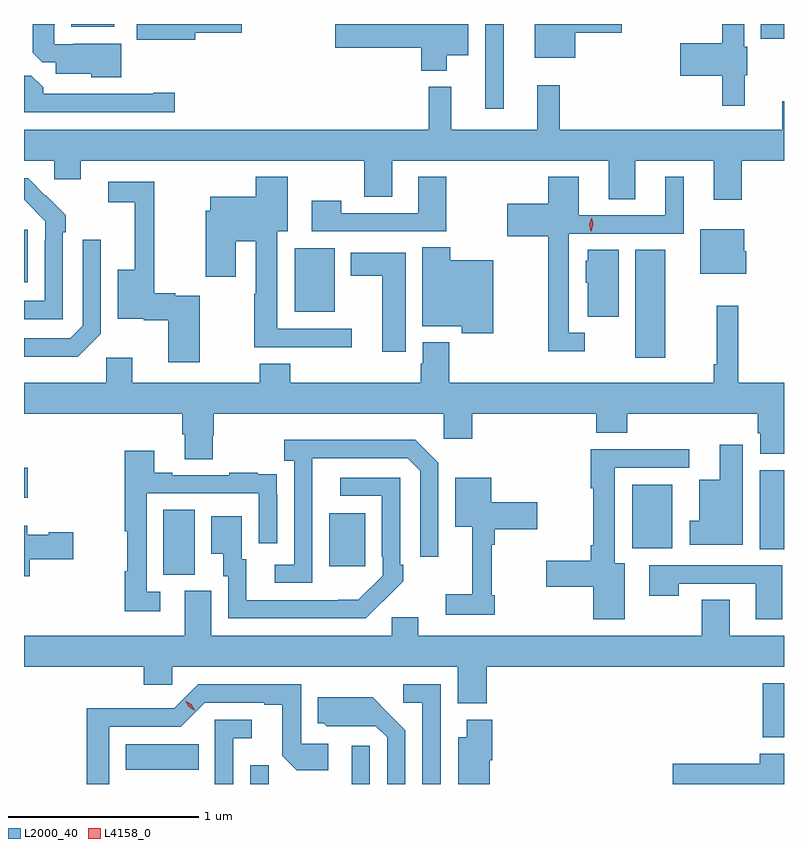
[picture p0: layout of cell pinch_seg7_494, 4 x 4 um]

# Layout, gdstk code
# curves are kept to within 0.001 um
import gdstk
lib = gdstk.Library(unit=1e-6, precision=1e-09)
def R(c, l, rs):  # rectangles x0, y0, x1, y1
    for r in rs: c.add(gdstk.rectangle(r[:2], r[2:], *l))
def P(c, l, *ps):  # polygons
    for p in ps: c.add(gdstk.Polygon(p, *l))
L2000_40 = (2000, 40)
L4158_0 = (4158, 0)

pinch_seg7_494 = lib.new_cell('pinch_seg7_494')
R(pinch_seg7_494, L2000_40, [(132.921,1077.256,133.019,1077.356), (133.455,1077.256,133.551,1077.457), (132.266,1077.332,132.65,1077.466), (135.617,1077.501,135.73,1077.787), (132.464,1078.357,132.628,1078.7), (133.337,1078.401,133.525,1078.681), (135.602,1078.492,135.73,1078.908), (134.93,1078.496,135.142,1078.831), (131.73,1078.763,131.749,1078.921), (134.948,1079.499,135.106,1080.068), (133.154,1079.741,133.366,1080.076), (131.73,1079.897,131.749,1080.172), (134.157,1080.81,134.254,1081.256), (135.607,1081.178,135.73,1081.256), (131.978,1081.241,132.205,1081.256)])
P(pinch_seg7_494, L2000_40, [(134.632,1081.211),(134.875,1081.211),(134.875,1081.256),(134.417,1081.256),(134.417,1081.079),(134.632,1081.079)],
  [(133.954,1081.091),(134.068,1081.091),(134.068,1081.256),(133.368,1081.256),(133.368,1081.132),(133.82,1081.132),(133.82,1081.01),(133.954,1081.01)],
  [(135.524,1080.987),(135.537,1080.987),(135.537,1081.137),(135.522,1081.137),(135.522,1081.256),(135.406,1081.256),(135.406,1081.154),(135.183,1081.154),(135.183,1080.983),(135.406,1080.983),(135.406,1080.825),(135.524,1080.825)],
  [(132.241,1081.153),(131.989,1081.153),(131.989,1081.149),(131.889,1081.149),(131.889,1081.249),(131.893,1081.249),(131.893,1081.256),(131.777,1081.256),(131.777,1081.105),(131.826,1081.056),(131.897,1081.056),(131.897,1080.995),(132.084,1080.995),(132.084,1080.977),(132.241,1080.977)],
  [(132.631,1081.211),(132.877,1081.211),(132.877,1081.256),(132.324,1081.256),(132.324,1081.172),(132.631,1081.172)],
  [(132.523,1080.893),(132.41,1080.893),(132.41,1080.888),(131.831,1080.888),(131.831,1080.922),(131.769,1080.984),(131.73,1080.984),(131.73,1080.792),(132.523,1080.792)],
  [(135.507,1080.536),(135.73,1080.536),(135.73,1080.85),(135.722,1080.85),(135.722,1080.7),(134.549,1080.7),(134.549,1080.934),(134.432,1080.934),(134.432,1080.7),(133.979,1080.7),(133.979,1080.925),(133.861,1080.925),(133.861,1080.7),(131.73,1080.7),(131.73,1080.536),(131.889,1080.536),(131.889,1080.438),(132.028,1080.438),(132.028,1080.536),(133.522,1080.536),(133.522,1080.346),(133.669,1080.346),(133.669,1080.536),(134.807,1080.536),(134.807,1080.334),(134.947,1080.334),(134.947,1080.536),(135.359,1080.536),(135.359,1080.33),(135.507,1080.33)],
  [(133.953,1080.451),(133.805,1080.451),(133.805,1080.261),(133.401,1080.261),(133.401,1080.325),(133.245,1080.325),(133.245,1080.165),(133.953,1080.165)],
  [(134.68,1079.631),(134.598,1079.631),(134.598,1080.153),(135.202,1080.153),(135.202,1080.451),(135.104,1080.451),(135.104,1080.249),(134.65,1080.249),(134.65,1080.451),(134.489,1080.451),(134.489,1080.31),(134.274,1080.31),(134.274,1080.14),(134.49,1080.14),(134.49,1079.534),(134.68,1079.534)],
  [(133.456,1079.652),(133.063,1079.652),(133.063,1080.164),(133.117,1080.164),(133.117,1080.451),(132.95,1080.451),(132.95,1080.346),(132.71,1080.346),(132.71,1080.273),(132.686,1080.273),(132.686,1079.925),(132.844,1079.925),(132.844,1080.113),(132.95,1080.113),(132.95,1079.837),(132.943,1079.837),(132.943,1079.555),(133.456,1079.555)],
  [(131.934,1080.161),(131.949,1080.161),(131.949,1080.249),(131.752,1080.444),(131.73,1080.444),(131.73,1080.331),(131.841,1080.219),(131.841,1080.119),(131.838,1080.119),(131.838,1079.799),(131.73,1079.799),(131.73,1079.703),(131.934,1079.703)],
  [(132.654,1079.827),(132.525,1079.827),(132.525,1079.84),(132.416,1079.84),(132.416,1080.426),(132.174,1080.426),(132.174,1080.318),(132.314,1080.318),(132.314,1079.962),(132.224,1079.962),(132.224,1079.705),(132.36,1079.705),(132.36,1079.698),(132.488,1079.698),(132.488,1079.475),(132.654,1079.475)],
  [(135.532,1080.06),(135.52,1080.06),(135.52,1080.175),(135.29,1080.175),(135.29,1079.942),(135.532,1079.942)],
  [(132.135,1079.625),(132.135,1080.121),(132.039,1080.121),(132.039,1079.667),(131.973,1079.601),(131.73,1079.601),(131.73,1079.504),(132.014,1079.504)],
  [(134.2,1080.013),(133.973,1080.013),(133.973,1080.08),(133.826,1080.08),(133.826,1079.666),(134.035,1079.666),(134.035,1079.628),(134.2,1079.628)],
  [(134.86,1080.068),(134.696,1080.068),(134.696,1080.009),(134.687,1080.009),(134.687,1079.895),(134.696,1079.895),(134.696,1079.715),(134.86,1079.715)],
  [(133.738,1080.052),(133.451,1080.052),(133.451,1079.93),(133.616,1079.93),(133.616,1079.532),(133.738,1079.532)],
  [(132.723,1079.091),(132.728,1079.091),(132.728,1079.204),(133.938,1079.204),(133.938,1079.073),(134.09,1079.073),(134.09,1079.204),(134.741,1079.204),(134.741,1079.105),(134.906,1079.105),(134.906,1079.204),(135.593,1079.204),(135.593,1079.103),(135.605,1079.103),(135.605,1078.993),(135.73,1078.993),(135.73,1079.368),(135.49,1079.368),(135.49,1079.773),(135.376,1079.773),(135.376,1079.464),(135.361,1079.464),(135.361,1079.368),(133.969,1079.368),(133.969,1079.581),(133.829,1079.581),(133.829,1079.469),(133.817,1079.469),(133.817,1079.368),(133.13,1079.368),(133.13,1079.467),(132.97,1079.467),(132.97,1079.368),(132.301,1079.368),(132.301,1079.5),(132.162,1079.5),(132.162,1079.368),(131.73,1079.368),(131.73,1079.204),(132.563,1079.204),(132.563,1079.098),(132.575,1079.098),(132.575,1078.966),(132.723,1078.966)],
  [(133.248,1078.971),(133.749,1078.971),(133.815,1078.905),(133.815,1078.452),(133.911,1078.452),(133.911,1078.947),(133.79,1079.068),(133.101,1079.068),(133.101,1078.958),(133.152,1078.958),(133.152,1078.41),(133.05,1078.41),(133.05,1078.314),(133.248,1078.314)],
  [(135.514,1079.041),(135.392,1079.041),(135.392,1078.858),(135.284,1078.858),(135.284,1078.642),(135.233,1078.642),(135.233,1078.514),(135.514,1078.514)],
  [(134.893,1078.417),(134.839,1078.417),(134.839,1078.92),(135.232,1078.92),(135.232,1079.018),(134.714,1079.018),(134.714,1078.813),(134.726,1078.813),(134.726,1078.513),(134.714,1078.513),(134.714,1078.43),(134.478,1078.43),(134.478,1078.295),(134.726,1078.295),(134.726,1078.122),(134.893,1078.122)],
  [(132.448,1078.269),(132.375,1078.269),(132.375,1078.785),(132.966,1078.785),(132.966,1078.524),(133.062,1078.524),(133.062,1078.778),(133.061,1078.778),(133.061,1078.887),(132.959,1078.887),(132.959,1078.894),(132.811,1078.894),(132.811,1078.881),(132.511,1078.881),(132.511,1078.894),(132.415,1078.894),(132.415,1079.011),(132.259,1079.011),(132.259,1078.587),(132.274,1078.587),(132.274,1078.376),(132.259,1078.376),(132.259,1078.164),(132.448,1078.164)],
  [(133.619,1078.219),(133.62,1078.218),(133.725,1078.323),(133.725,1078.411),(133.71,1078.411),(133.71,1078.869),(133.395,1078.869),(133.395,1078.773),(133.614,1078.773),(133.614,1078.453),(133.617,1078.453),(133.617,1078.353),(133.489,1078.225),(132.901,1078.224),(132.901,1078.44),(132.877,1078.44),(132.877,1078.666),(132.716,1078.666),(132.716,1078.469),(132.779,1078.469),(132.779,1078.35),(132.804,1078.35),(132.804,1078.128),(133.528,1078.128)],
  [(134.207,1078.249),(134.192,1078.249),(134.192,1078.514),(134.207,1078.514),(134.207,1078.598),(134.431,1078.598),(134.431,1078.74),(134.188,1078.74),(134.188,1078.867),(134,1078.867),(134,1078.61),(134.09,1078.61),(134.09,1078.255),(133.95,1078.255),(133.95,1078.146),(134.207,1078.146)],
  [(131.759,1078.438),(131.989,1078.438),(131.989,1078.58),(131.859,1078.58),(131.859,1078.567),(131.746,1078.567),(131.746,1078.615),(131.73,1078.615),(131.73,1078.349),(131.759,1078.349)],
  [(135.721,1078.407),(135.021,1078.407),(135.021,1078.248),(135.177,1078.248),(135.177,1078.311),(135.581,1078.311),(135.581,1078.122),(135.721,1078.122)],
  [(134.165,1077.872),(135.73,1077.872),(135.73,1078.036),(135.445,1078.036),(135.445,1078.226),(135.298,1078.226),(135.298,1078.036),(133.804,1078.036),(133.804,1078.134),(133.665,1078.134),(133.665,1078.036),(132.715,1078.036),(132.715,1078.272),(132.575,1078.272),(132.575,1078.036),(131.73,1078.036),(131.73,1077.872),(132.359,1077.872),(132.359,1077.779),(132.51,1077.779),(132.51,1077.872),(134.012,1077.872),(134.012,1077.68),(134.165,1077.68)],
  [(132.178,1077.558),(132.555,1077.558),(132.681,1077.684),(132.995,1077.684),(132.995,1077.672),(133.089,1077.672),(133.089,1077.404),(133.165,1077.328),(133.33,1077.328),(133.33,1077.468),(133.188,1077.468),(133.188,1077.78),(132.648,1077.78),(132.522,1077.654),(132.3,1077.654),(132.3,1077.656),(132.06,1077.656),(132.06,1077.256),(132.178,1077.256)],
  [(133.923,1077.78),(133.725,1077.78),(133.725,1077.684),(133.827,1077.684),(133.827,1077.256),(133.923,1077.256)],
  [(133.737,1077.538),(133.565,1077.712),(133.277,1077.712),(133.277,1077.576),(133.308,1077.576),(133.324,1077.56),(133.581,1077.561),(133.641,1077.501),(133.641,1077.256),(133.737,1077.256)],
  [(134.182,1077.381),(134.195,1077.381),(134.195,1077.595),(134.06,1077.595),(134.06,1077.502),(134.015,1077.502),(134.015,1077.256),(134.182,1077.256)],
  [(132.831,1077.497),(132.928,1077.497),(132.928,1077.594),(132.735,1077.594),(132.735,1077.256),(132.831,1077.256)],
  [(135.73,1077.416),(135.602,1077.416),(135.602,1077.362),(135.144,1077.362),(135.144,1077.256),(135.73,1077.256)])
P(pinch_seg7_494, L4158_0, [(134.714,1080.165),(134.714,1080.165),(134.706,1080.202),(134.718,1080.237),(134.718,1080.237),(134.718,1080.237),(134.726,1080.201),(134.715,1080.165)],
  [(132.627,1077.644),(132.596,1077.663),(132.578,1077.695),(132.578,1077.695),(132.578,1077.695),(132.61,1077.677),(132.628,1077.644),(132.628,1077.644)])

lib.write_gds('pinch_seg7_494.gds')
